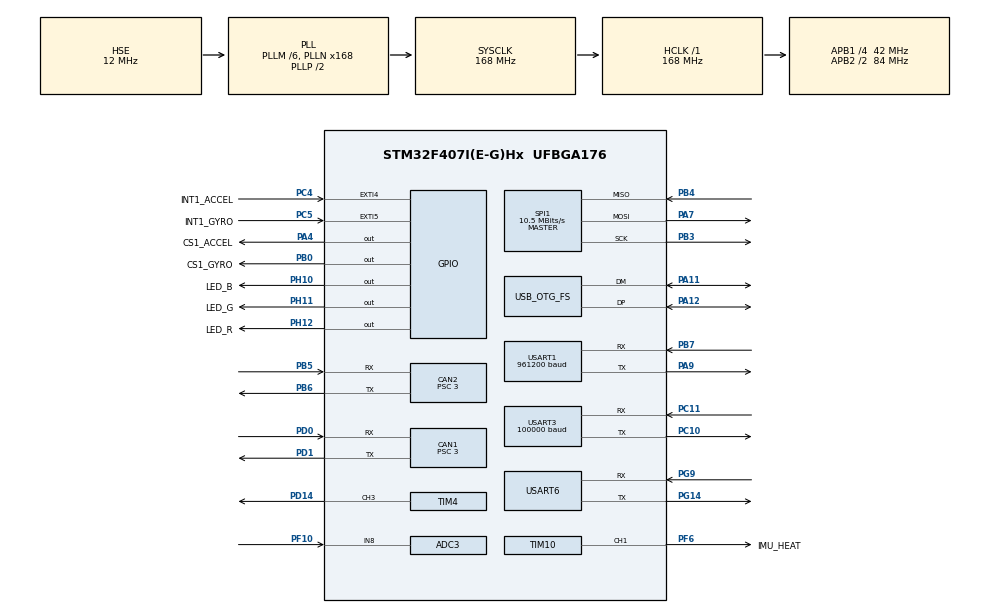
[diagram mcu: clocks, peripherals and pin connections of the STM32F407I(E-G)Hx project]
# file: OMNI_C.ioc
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ADC1.Channel-1\#ChannelRegularConversion=ADC_CHANNEL_TEMPSENSOR
ADC1.NbrOfConversionFlag=1
ADC1.Rank-1\#ChannelRegularConversion=1
ADC1.SamplingTime-1\#ChannelRegularConversion=ADC_SAMPLETIME_3CYCLES
ADC1.master=1
ADC3.Channel-0\#ChannelRegularConversion=ADC_CHANNEL_8
ADC3.NbrOfConversionFlag=1
ADC3.Rank-0\#ChannelRegularConversion=1
ADC3.SamplingTime-0\#ChannelRegularConversion=ADC_SAMPLETIME_3CYCLES
CAN1.BS1=CAN_BS1_7TQ
CAN1.BS2=CAN_BS2_6TQ
CAN1.CalculateBaudRate=1000000
CAN1.CalculateTimeBit=1000
CAN1.CalculateTimeQuantum=71.42857142857143
CAN1.NART=ENABLE
CAN1.Prescaler=3
CAN2.ABOM=ENABLE
CAN2.BS1=CAN_BS1_7TQ
CAN2.BS2=CAN_BS2_6TQ
CAN2.CalculateBaudRate=1000000
CAN2.CalculateTimeBit=1000
CAN2.CalculateTimeQuantum=71.42857142857143
CAN2.NART=ENABLE
CAN2.Prescaler=3
Dma.Request0=SPI1_RX
Dma.Request1=SPI1_TX
Dma.Request2=USART6_RX
Dma.Request3=USART6_TX
Dma.Request4=USART3_RX
Dma.Request5=USART1_TX
Dma.Request6=USART1_RX
Dma.Request7=USART3_TX
Dma.Request8=TIM4_CH3
Dma.SPI1_RX.0.Direction=DMA_PERIPH_TO_MEMORY
Dma.SPI1_RX.0.FIFOMode=DMA_FIFOMODE_DISABLE
Dma.SPI1_RX.0.Instance=DMA2_Stream0
Dma.SPI1_RX.0.MemDataAlignment=DMA_MDATAALIGN_BYTE
Dma.SPI1_RX.0.MemInc=DMA_MINC_ENABLE
Dma.SPI1_RX.0.Mode=DMA_NORMAL
Dma.SPI1_RX.0.PeriphDataAlignment=DMA_PDATAALIGN_BYTE
Dma.SPI1_RX.0.PeriphInc=DMA_PINC_DISABLE
Dma.SPI1_RX.0.Priority=DMA_PRIORITY_VERY_HIGH
Dma.SPI1_TX.1.Direction=DMA_MEMORY_TO_PERIPH
Dma.SPI1_TX.1.FIFOMode=DMA_FIFOMODE_DISABLE
Dma.SPI1_TX.1.Instance=DMA2_Stream3
Dma.SPI1_TX.1.MemDataAlignment=DMA_MDATAALIGN_BYTE
Dma.SPI1_TX.1.MemInc=DMA_MINC_ENABLE
Dma.SPI1_TX.1.Mode=DMA_NORMAL
Dma.SPI1_TX.1.PeriphDataAlignment=DMA_PDATAALIGN_BYTE
Dma.SPI1_TX.1.PeriphInc=DMA_PINC_DISABLE
Dma.SPI1_TX.1.Priority=DMA_PRIORITY_VERY_HIGH
Dma.TIM4_CH3.8.Direction=DMA_PERIPH_TO_MEMORY
Dma.TIM4_CH3.8.FIFOMode=DMA_FIFOMODE_DISABLE
Dma.TIM4_CH3.8.Instance=DMA1_Stream7
Dma.TIM4_CH3.8.MemDataAlignment=DMA_MDATAALIGN_HALFWORD
Dma.TIM4_CH3.8.MemInc=DMA_MINC_ENABLE
Dma.TIM4_CH3.8.Mode=DMA_NORMAL
Dma.TIM4_CH3.8.PeriphDataAlignment=DMA_PDATAALIGN_HALFWORD
Dma.TIM4_CH3.8.PeriphInc=DMA_PINC_DISABLE
Dma.TIM4_CH3.8.Priority=DMA_PRIORITY_LOW
Dma.USART1_RX.6.Direction=DMA_PERIPH_TO_MEMORY
Dma.USART1_RX.6.FIFOMode=DMA_FIFOMODE_DISABLE
Dma.USART1_RX.6.Instance=DMA2_Stream5
Dma.USART1_RX.6.MemDataAlignment=DMA_MDATAALIGN_BYTE
Dma.USART1_RX.6.MemInc=DMA_MINC_ENABLE
Dma.USART1_RX.6.Mode=DMA_NORMAL
Dma.USART1_RX.6.PeriphDataAlignment=DMA_PDATAALIGN_BYTE
Dma.USART1_RX.6.PeriphInc=DMA_PINC_DISABLE
Dma.USART1_RX.6.Priority=DMA_PRIORITY_HIGH
Dma.USART1_TX.5.Direction=DMA_MEMORY_TO_PERIPH
Dma.USART1_TX.5.FIFOMode=DMA_FIFOMODE_DISABLE
Dma.USART1_TX.5.Instance=DMA2_Stream7
Dma.USART1_TX.5.MemDataAlignment=DMA_MDATAALIGN_BYTE
Dma.USART1_TX.5.MemInc=DMA_MINC_ENABLE
Dma.USART1_TX.5.Mode=DMA_NORMAL
Dma.USART1_TX.5.PeriphDataAlignment=DMA_PDATAALIGN_BYTE
Dma.USART1_TX.5.PeriphInc=DMA_PINC_DISABLE
Dma.USART1_TX.5.Priority=DMA_PRIORITY_HIGH
Dma.USART3_RX.4.Direction=DMA_PERIPH_TO_MEMORY
Dma.USART3_RX.4.FIFOMode=DMA_FIFOMODE_DISABLE
Dma.USART3_RX.4.Instance=DMA1_Stream1
Dma.USART3_RX.4.MemDataAlignment=DMA_MDATAALIGN_BYTE
Dma.USART3_RX.4.MemInc=DMA_MINC_ENABLE
Dma.USART3_RX.4.Mode=DMA_NORMAL
Dma.USART3_RX.4.PeriphDataAlignment=DMA_PDATAALIGN_BYTE
Dma.USART3_RX.4.PeriphInc=DMA_PINC_DISABLE
Dma.USART3_RX.4.Priority=DMA_PRIORITY_VERY_HIGH
Dma.USART3_TX.7.Direction=DMA_MEMORY_TO_PERIPH
Dma.USART3_TX.7.FIFOMode=DMA_FIFOMODE_DISABLE
Dma.USART3_TX.7.Instance=DMA1_Stream3
Dma.USART3_TX.7.MemDataAlignment=DMA_MDATAALIGN_BYTE
Dma.USART3_TX.7.MemInc=DMA_MINC_ENABLE
Dma.USART3_TX.7.Mode=DMA_NORMAL
Dma.USART3_TX.7.PeriphDataAlignment=DMA_PDATAALIGN_BYTE
Dma.USART3_TX.7.PeriphInc=DMA_PINC_DISABLE
Dma.USART3_TX.7.Priority=DMA_PRIORITY_VERY_HIGH
Dma.USART6_RX.2.Direction=DMA_PERIPH_TO_MEMORY
Dma.USART6_RX.2.FIFOMode=DMA_FIFOMODE_DISABLE
Dma.USART6_RX.2.Instance=DMA2_Stream2
Dma.USART6_RX.2.MemDataAlignment=DMA_MDATAALIGN_BYTE
Dma.USART6_RX.2.MemInc=DMA_MINC_ENABLE
Dma.USART6_RX.2.Mode=DMA_NORMAL
Dma.USART6_RX.2.PeriphDataAlignment=DMA_PDATAALIGN_BYTE
Dma.USART6_RX.2.PeriphInc=DMA_PINC_DISABLE
Dma.USART6_RX.2.Priority=DMA_PRIORITY_HIGH
Dma.USART6_TX.3.Direction=DMA_MEMORY_TO_PERIPH
Dma.USART6_TX.3.FIFOMode=DMA_FIFOMODE_DISABLE
Dma.USART6_TX.3.Instance=DMA2_Stream6
Dma.USART6_TX.3.MemDataAlignment=DMA_MDATAALIGN_BYTE
Dma.USART6_TX.3.MemInc=DMA_MINC_ENABLE
Dma.USART6_TX.3.Mode=DMA_CIRCULAR
Dma.USART6_TX.3.PeriphDataAlignment=DMA_PDATAALIGN_BYTE
Dma.USART6_TX.3.PeriphInc=DMA_PINC_DISABLE
Dma.USART6_TX.3.Priority=DMA_PRIORITY_HIGH
FREERTOS.BinarySemaphores01=binarySem,Dynamic,NULL
FREERTOS.INCLUDE_vTaskDelayUntil=1
FREERTOS.Tasks01=IMUTask,0,512,StartIMUTask,As weak,NULL,Dynamic,NULL,NULL;chassisTask,-3,256,StartChassisTask,As weak,NULL,Dynamic,NULL,NULL;gimbalTask,-3,256,StartGimbalTask,As weak,NULL,Dynamic,NULL,NULL;attackTask,-3,256,StartAttackTask,As weak,NULL,Dynamic,NULL,NULL;monitorTask,-3,128,StartMonitorTask,As weak,NULL,Dynamic,NULL,NULL;visionTask,-2,1024,StartvisionTask,As weak,NULL,Dynamic,NULL,NULL
Mcu.Family=STM32F4
Mcu.Name=STM32F407I(E-G)Hx
Mcu.Package=UFBGA176
NVIC.CAN1_RX0_IRQn=true\:5\:0\:true\:false\:true\:true\:true\:true\:true
NVIC.CAN2_RX0_IRQn=true\:5\:0\:true\:false\:true\:true\:true\:true\:true
NVIC.DMA1_Stream1_IRQn=true\:5\:0\:false\:false\:true\:true\:true\:true\:true
NVIC.DMA1_Stream3_IRQn=true\:5\:0\:false\:false\:true\:true\:false\:true\:true
NVIC.DMA1_Stream7_IRQn=true\:5\:0\:false\:false\:true\:true\:false\:true\:true
NVIC.DMA2_Stream0_IRQn=true\:5\:0\:false\:false\:true\:true\:true\:true\:true
NVIC.DMA2_Stream2_IRQn=true\:5\:0\:false\:false\:true\:true\:true\:true\:true
NVIC.DMA2_Stream3_IRQn=true\:5\:0\:false\:false\:true\:true\:true\:true\:true
NVIC.DMA2_Stream5_IRQn=true\:5\:0\:false\:false\:true\:true\:true\:true\:true
NVIC.DMA2_Stream6_IRQn=true\:5\:0\:false\:false\:true\:true\:true\:true\:true
NVIC.DMA2_Stream7_IRQn=true\:5\:0\:false\:false\:true\:true\:true\:true\:true
NVIC.OTG_FS_IRQn=true\:5\:0\:false\:false\:true\:true\:true\:true\:true
NVIC.PriorityGroup=NVIC_PRIORITYGROUP_4
NVIC.TIM1_UP_TIM10_IRQn=true\:15\:0\:true\:false\:true\:false\:true\:true\:true
NVIC.TIM2_IRQn=true\:5\:0\:true\:false\:true\:true\:true\:true\:true
NVIC.TimeBase=TIM1_UP_TIM10_IRQn
NVIC.TimeBaseIP=TIM1
NVIC.USART1_IRQn=true\:5\:0\:true\:true\:true\:1\:true\:true\:true\:true
NVIC.USART3_IRQn=true\:6\:0\:true\:false\:true\:true\:true\:true\:true
NVIC.USART6_IRQn=true\:5\:0\:true\:true\:true\:2\:true\:true\:true\:true
PA11.Mode=Device_Only
PA11.Signal=USB_OTG_FS_DM
PA12.Mode=Device_Only
PA12.Signal=USB_OTG_FS_DP
PA13.Mode=Serial_Wire
PA13.Signal=SYS_JTMS-SWDIO
PA14.Mode=Serial_Wire
PA14.Signal=SYS_JTCK-SWCLK
PA4.GPIO_Label=CS1_ACCEL
PA4.GPIO_PuPd=GPIO_PULLUP
PA4.GPIO_Speed=GPIO_SPEED_FREQ_HIGH
PA4.Signal=GPIO_Output
PA7.GPIO_PuPd=GPIO_PULLUP
PA7.Mode=Full_Duplex_Master
PA7.Signal=SPI1_MOSI
PA9.Mode=Asynchronous
PA9.Signal=USART1_TX
PB0.GPIO_Label=CS1_GYRO
PB0.GPIO_PuPd=GPIO_PULLUP
PB0.GPIO_Speed=GPIO_SPEED_FREQ_HIGH
PB0.Signal=GPIO_Output
PB3.GPIO_PuPd=GPIO_PULLUP
PB3.Mode=Full_Duplex_Master
PB3.Signal=SPI1_SCK
PB4.GPIO_PuPd=GPIO_PULLUP
PB4.Mode=Full_Duplex_Master
PB4.Signal=SPI1_MISO
PB5.Mode=CAN_Activate
PB5.Signal=CAN2_RX
PB6.Mode=CAN_Activate
PB6.Signal=CAN2_TX
PB7.Mode=Asynchronous
PB7.Signal=USART1_RX
PC10.Mode=Asynchronous
PC10.Signal=USART3_TX
PC11.Mode=Asynchronous
PC11.Signal=USART3_RX
PC14-OSC32_IN.Mode=LSE-External-Oscillator
PC14-OSC32_IN.Signal=RCC_OSC32_IN
PC15-OSC32_OUT.Mode=LSE-External-Oscillator
PC15-OSC32_OUT.Signal=RCC_OSC32_OUT
PC4.GPIO_Label=INT1_ACCEL
PC4.GPIO_PuPd=GPIO_PULLUP
PC4.Signal=GPXTI4
PC5.GPIO_Label=INT1_GYRO
PC5.GPIO_PuPd=GPIO_PULLUP
PC5.Signal=GPXTI5
PD0.Mode=CAN_Activate
PD0.Signal=CAN1_RX
PD1.Mode=CAN_Activate
PD1.Signal=CAN1_TX
PD14.Signal=S_TIM4_CH3
PF10.Mode=IN8
PF10.Signal=ADC3_IN8
PF6.GPIO_Label=IMU_HEAT
PF6.GPIO_PuPd=GPIO_PULLUP
PF6.GPIO_Speed=GPIO_SPEED_FREQ_HIGH
PF6.Signal=S_TIM10_CH1
PG14.Mode=Asynchronous
PG14.Signal=USART6_TX
PG9.Mode=Asynchronous
PG9.Signal=USART6_RX
PH0-OSC_IN.Mode=HSE-External-Oscillator
PH0-OSC_IN.Signal=RCC_OSC_IN
PH1-OSC_OUT.Mode=HSE-External-Oscillator
PH1-OSC_OUT.Signal=RCC_OSC_OUT
PH10.GPIO_Label=LED_B
PH10.GPIO_Speed=GPIO_SPEED_FREQ_HIGH
PH10.Signal=GPIO_Output
PH11.GPIO_Label=LED_G
PH11.GPIO_Speed=GPIO_SPEED_FREQ_HIGH
PH11.Signal=GPIO_Output
PH12.GPIO_Label=LED_R
PH12.GPIO_Speed=GPIO_SPEED_FREQ_HIGH
PH12.Signal=GPIO_Output
ProjectManager.HeapSize=0x200
ProjectManager.StackSize=0x400
ProjectManager.TargetToolchain=MDK-ARM V5.32
RCC.48MHZClocksFreq_Value=48000000
RCC.AHBFreq_Value=168000000
RCC.APB1CLKDivider=RCC_HCLK_DIV4
RCC.APB1Freq_Value=42000000
RCC.APB1TimFreq_Value=84000000
RCC.APB2CLKDivider=RCC_HCLK_DIV2
RCC.APB2Freq_Value=84000000
RCC.APB2TimFreq_Value=168000000
RCC.CortexFreq_Value=168000000
RCC.HCLKFreq_Value=168000000
RCC.HSE_VALUE=12000000
RCC.HSI_VALUE=16000000
RCC.PLLM=6
RCC.PLLN=168
RCC.PLLQ=7
RCC.SYSCLKFreq_VALUE=168000000
RCC.SYSCLKSource=RCC_SYSCLKSOURCE_PLLCLK
RCC.VCOOutputFreq_Value=336000000
SH.S_TIM10_CH1.0=TIM10_CH1,PWM Generation1 CH1
SH.S_TIM4_CH3.0=TIM4_CH3,PWM Generation3 CH3
SPI1.BaudRatePrescaler=SPI_BAUDRATEPRESCALER_8
SPI1.CLKPhase=SPI_PHASE_2EDGE
SPI1.CLKPolarity=SPI_POLARITY_HIGH
SPI1.CalculateBaudRate=10.5 MBits/s
SPI1.Direction=SPI_DIRECTION_2LINES
SPI1.Mode=SPI_MODE_MASTER
SPI1.VirtualType=VM_MASTER
TIM10.Channel=TIM_CHANNEL_1
TIM10.Period=4999
TIM10.Prescaler=0
TIM2.Period=1000-1
TIM2.Prescaler=168-1
TIM4.Channel-PWM\ Generation3\ CH3=TIM_CHANNEL_3
TIM4.Period=20999
USART1.BaudRate=961200
USART1.Parity=PARITY_NONE
USART1.VirtualMode=VM_ASYNC
USART3.BaudRate=100000
USART3.Mode=MODE_TX_RX
USART3.Parity=PARITY_NONE
USART3.VirtualMode=VM_ASYNC
USART6.VirtualMode=VM_ASYNC
USB_DEVICE.CLASS_NAME_FS=CDC
USB_DEVICE.VirtualMode-CDC_FS=Cdc
USB_DEVICE.VirtualModeFS=Cdc_FS
USB_OTG_FS.VirtualMode=Device_Only
VP_ADC1_TempSens_Input.Mode=IN-TempSens
VP_CRC_VS_CRC.Mode=CRC_Activate
VP_FREERTOS_VS_CMSIS_V1.Mode=CMSIS_V1
VP_SYS_VS_tim1.Mode=TIM1
VP_TIM10_VS_ClockSourceINT.Mode=Enable_Timer
VP_TIM2_VS_ClockSourceINT.Mode=Internal
VP_TIM4_VS_ClockSourceINT.Mode=Internal
VP_USB_DEVICE_VS_USB_DEVICE_CDC_FS.Mode=CDC_FS
board=custom

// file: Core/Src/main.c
/* USER CODE BEGIN Header */
/**
 ******************************************************************************
 * @file           : main.c
 * @brief          : Main program body
 ******************************************************************************
 * @attention
 *
 * Copyright (c) 2024 STMicroelectronics.
 * All rights reserved.
 *
 * This software is licensed under terms that can be found in the LICENSE file
 * in the root directory of this software component.
 * If no LICENSE file comes with this software, it is provided AS-IS.
 *
 ******************************************************************************
 */
/* USER CODE END Header */
#include "main.h"
#include "cmsis_os.h"
#include "adc.h"
#include "can.h"
#include "crc.h"
#include "dma.h"
#include "spi.h"
#include "tim.h"
#include "usart.h"
#include "usb_device.h"
#include "gpio.h"

/* USER CODE BEGIN Includes */
#include "ATTACK.h"
#include "CAP.h"
#include "CHASSIS.h"
#include "DBUS.h"
#include "DEFINE.h"
#include "GIMBAL.h"
#include "MOTOR.h"
#include "PID.h"
#include "TOP.h"
#include "TIM_DEV.h"
#include "CAN_DEV.h"
#include "USART_DEV.h"
#include "JUDGEMENT.h"
#include "VISION.h"
#include "VOFA.h"
#include "YU_MATH.h"
#include "ROOT.h"
#include "Read_Data.h"
#include "usbd_cdc_if.h"
#include "VT13.h"
/* USER CODE END Includes */

void SystemClock_Config(void);
void MX_FREERTOS_Init(void);
static void MX_NVIC_Init(void);

int main(void)
{

  /* MCU Configuration--------------------------------------------------------*/

  /* Reset of all peripherals, Initializes the Flash interface and the Systick. */
  HAL_Init();

  /* Configure the system clock */
  SystemClock_Config();

  /* Initialize all configured peripherals */
  MX_GPIO_Init();
  MX_DMA_Init();
  MX_CAN1_Init();
  MX_CAN2_Init();
  MX_TIM2_Init();
  MX_SPI1_Init();
  MX_USART3_UART_Init();
  MX_USART1_UART_Init();
  MX_USART6_UART_Init();
  MX_TIM10_Init();
  MX_ADC1_Init();
  MX_ADC3_Init();
  MX_TIM4_Init();
  MX_CRC_Init();

  /* Initialize interrupts */
  MX_NVIC_Init();
  /* USER CODE BEGIN 2 */

  CAN_Filter_Init();
  ROOT_F_Init();
  __HAL_UART_ENABLE_IT(&huart6, UART_IT_IDLE);
  HAL_UART_Receive_DMA(&huart6, (uint8_t*)ALL_RX.Data, 255);

  __HAL_UART_ENABLE_IT(&huart3, UART_IT_IDLE);
  HAL_UART_Receive_DMA(&huart3, (uint8_t *)DBUS_V_UNION.GET_DATA, sizeof(DBUS_V_UNION.GET_DATA));

  // printf("ok\r\n");  // huart1
  __HAL_UART_ENABLE_IT(&huart1, UART_IT_IDLE);
  HAL_UART_Receive_DMA(&huart1, (uint8_t *)VT13_V_UNION.GetData, sizeof(VT13_V_UNION.GetData));
  HAL_TIM_Base_Start_IT(&htim2);

  /* USER CODE END 2 */

  /* Call init function for freertos objects (in cmsis_os2.c) */
  MX_FREERTOS_Init();

  /* Start scheduler */
  osKernelStart();

  /* We should never get here as control is now taken by the scheduler */

  /* Infinite loop */
  while (1)
  {

  }
}

void SystemClock_Config(void)
{
  RCC_OscInitTypeDef RCC_OscInitStruct = {0};
  RCC_ClkInitTypeDef RCC_ClkInitStruct = {0};

  /** Configure the main internal regulator output voltage
  */
  __HAL_RCC_PWR_CLK_ENABLE();
  __HAL_PWR_VOLTAGESCALING_CONFIG(PWR_REGULATOR_VOLTAGE_SCALE1);

  /** Initializes the RCC Oscillators according to the specified parameters
  * in the RCC_OscInitTypeDef structure.
  */
  RCC_OscInitStruct.OscillatorType = RCC_OSCILLATORTYPE_HSE;
  RCC_OscInitStruct.HSEState = RCC_HSE_ON;
  RCC_OscInitStruct.PLL.PLLState = RCC_PLL_ON;
  RCC_OscInitStruct.PLL.PLLSource = RCC_PLLSOURCE_HSE;
  RCC_OscInitStruct.PLL.PLLM = 6;
  RCC_OscInitStruct.PLL.PLLN = 168;
  RCC_OscInitStruct.PLL.PLLP = RCC_PLLP_DIV2;
  RCC_OscInitStruct.PLL.PLLQ = 7;
  if (HAL_RCC_OscConfig(&RCC_OscInitStruct) != HAL_OK)
  {
    Error_Handler();
  }

  /** Initializes the CPU, AHB and APB buses clocks
  */
  RCC_ClkInitStruct.ClockType = RCC_CLOCKTYPE_HCLK|RCC_CLOCKTYPE_SYSCLK
                              |RCC_CLOCKTYPE_PCLK1|RCC_CLOCKTYPE_PCLK2;
  RCC_ClkInitStruct.SYSCLKSource = RCC_SYSCLKSOURCE_PLLCLK;
  RCC_ClkInitStruct.AHBCLKDivider = RCC_SYSCLK_DIV1;
  RCC_ClkInitStruct.APB1CLKDivider = RCC_HCLK_DIV4;
  RCC_ClkInitStruct.APB2CLKDivider = RCC_HCLK_DIV2;

  if (HAL_RCC_ClockConfig(&RCC_ClkInitStruct, FLASH_LATENCY_5) != HAL_OK)
  {
    Error_Handler();
  }
}

/**
  * @brief NVIC Configuration.
  * @retval None
  */
static void MX_NVIC_Init(void)
{
  /* USART1_IRQn interrupt configuration */
  HAL_NVIC_SetPriority(USART1_IRQn, 5, 0);
  HAL_NVIC_EnableIRQ(USART1_IRQn);
  /* USART6_IRQn interrupt configuration */
  HAL_NVIC_SetPriority(USART6_IRQn, 5, 0);
  HAL_NVIC_EnableIRQ(USART6_IRQn);
}

void HAL_TIM_PeriodElapsedCallback(TIM_HandleTypeDef *htim)
{
  if (htim->Instance == TIM1)
  {
    HAL_IncTick();
  }
  /* USER CODE BEGIN Callback 1 */
  if (htim->Instance == TIM2) // 底盘 1ms
    {
      // ControltoVision(&VISION_V_DATA.SEND ,sd_v_buff, 1);
      // RunTime ++;
      // VISION_V_DATA.SEND.TIME = RunTime;
    }
  /* USER CODE END Callback 1 */
}

void Error_Handler(void)
{
  __disable_irq();
  while (1)
  {
  }
}

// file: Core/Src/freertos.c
/* USER CODE BEGIN Header */
/**
  ******************************************************************************
  * File Name          : freertos.c
  * Description        : Code for freertos applications
  ******************************************************************************
  * @attention
  *
  * Copyright (c) 2024 STMicroelectronics.
  * All rights reserved.
  *
  * This software is licensed under terms that can be found in the LICENSE file
  * in the root directory of this software component.
  * If no LICENSE file comes with this software, it is provided AS-IS.
  *
  ******************************************************************************
  */
/* USER CODE END Header */

#include "FreeRTOS.h"
#include "task.h"
#include "main.h"
#include "cmsis_os.h"

/* USER CODE BEGIN Includes */
#include "imu_temp_control_task.h"

#include "main.h"
#include "can.h"

#include "TIM_DEV.h"
#include "CAN_DEV.h"
#include "MOTOR.h"
#include "DEFINE.h"
#include "CHASSIS.h"
#include "DBUS.h"
#include "GIMBAL.h"
#include "ROOT.h"
#include "ATTACK.h"
#include "VOFA.h"
#include "TOP.h"
#include "VISION.h"
#include "Read_Data.h"
#include "YU_MATH.h"
#include "chassis_power_control.h"
#include "tim.h"
#include "niming.h"
/* USER CODE END Includes */

osThreadId IMUTaskHandle;
osThreadId chassisTaskHandle;
osThreadId gimbalTaskHandle;
osThreadId attackTaskHandle;
osThreadId monitorTaskHandle;
osThreadId visionTaskHandle;
osSemaphoreId binarySemHandle;

void StartIMUTask(void const * argument);
void StartChassisTask(void const * argument);
void StartGimbalTask(void const * argument);
void StartAttackTask(void const * argument);
void StartMonitorTask(void const * argument);
void StartvisionTask(void const * argument);

extern void MX_USB_DEVICE_Init(void);
void MX_FREERTOS_Init(void); /* (MISRA C 2004 rule 8.1) */

/* GetIdleTaskMemory prototype (linked to static allocation support) */
void vApplicationGetIdleTaskMemory( StaticTask_t **ppxIdleTaskTCBBuffer, StackType_t **ppxIdleTaskStackBuffer, uint32_t *pulIdleTaskStackSize );

/* USER CODE BEGIN GET_IDLE_TASK_MEMORY */
static StaticTask_t xIdleTaskTCBBuffer;
static StackType_t xIdleStack[configMINIMAL_STACK_SIZE];

void vApplicationGetIdleTaskMemory( StaticTask_t **ppxIdleTaskTCBBuffer, StackType_t **ppxIdleTaskStackBuffer, uint32_t *pulIdleTaskStackSize )
{
  *ppxIdleTaskTCBBuffer = &xIdleTaskTCBBuffer;
  *ppxIdleTaskStackBuffer = &xIdleStack[0];
  *pulIdleTaskStackSize = configMINIMAL_STACK_SIZE;
  /* place for user code */
}
/* USER CODE END GET_IDLE_TASK_MEMORY */

void MX_FREERTOS_Init(void) {

  /* Create the semaphores(s) */
  /* definition and creation of binarySem */
  osSemaphoreDef(binarySem);
  binarySemHandle = osSemaphoreCreate(osSemaphore(binarySem), 1);

  /* Create the thread(s) */
  /* definition and creation of IMUTask */
  osThreadDef(IMUTask, StartIMUTask, osPriorityNormal, 0, 512);
  IMUTaskHandle = osThreadCreate(osThread(IMUTask), NULL);

  /* definition and creation of chassisTask */
  osThreadDef(chassisTask, StartChassisTask, osPriorityIdle, 0, 256);
  chassisTaskHandle = osThreadCreate(osThread(chassisTask), NULL);

  /* definition and creation of gimbalTask */
  osThreadDef(gimbalTask, StartGimbalTask, osPriorityIdle, 0, 256);
  gimbalTaskHandle = osThreadCreate(osThread(gimbalTask), NULL);

  /* definition and creation of attackTask */
  osThreadDef(attackTask, StartAttackTask, osPriorityIdle, 0, 256);
  attackTaskHandle = osThreadCreate(osThread(attackTask), NULL);

  /* definition and creation of monitorTask */
  osThreadDef(monitorTask, StartMonitorTask, osPriorityIdle, 0, 128);
  monitorTaskHandle = osThreadCreate(osThread(monitorTask), NULL);

  /* definition and creation of visionTask */
  osThreadDef(visionTask, StartvisionTask, osPriorityLow, 0, 1024);
  visionTaskHandle = osThreadCreate(osThread(visionTask), NULL);

}

__weak void StartIMUTask(void const * argument)
{
  /* init code for USB_DEVICE */
  MX_USB_DEVICE_Init();
  for(;;)
  {
  }
}

__weak void StartChassisTask(void const * argument)
{
  for(;;)
  {
  }
}

__weak void StartGimbalTask(void const * argument)
{
  for(;;)
  {
  }
}

__weak void StartAttackTask(void const * argument)
{
  for(;;)
  {
  }
}

__weak void StartMonitorTask(void const * argument)
{
  for(;;)
  {
  }
}

__weak void StartvisionTask(void const * argument)
{
  for(;;)
  {
  }
}
